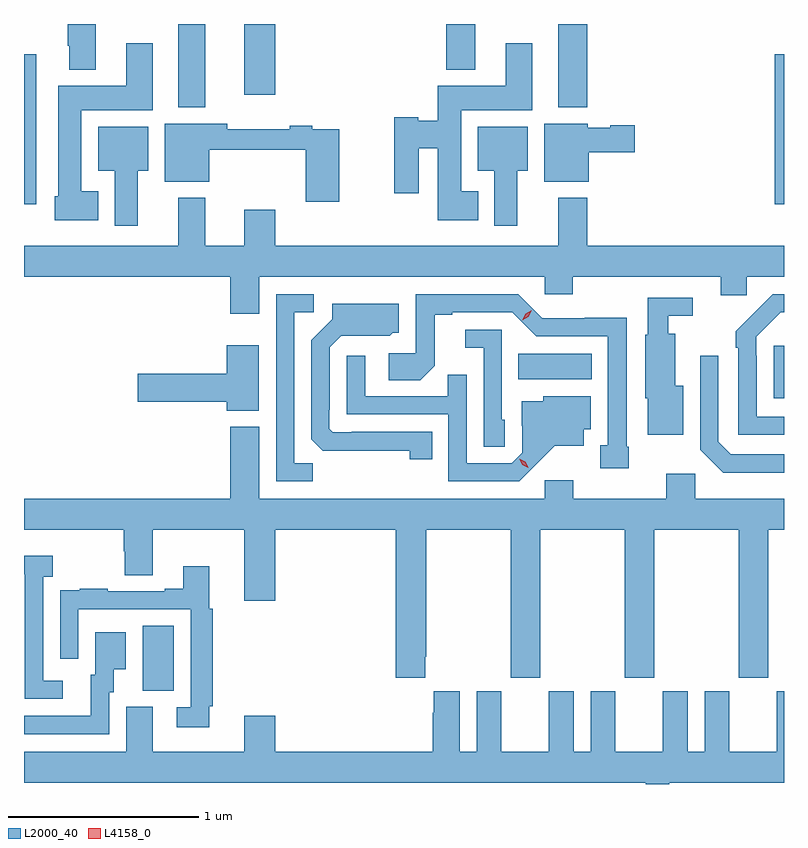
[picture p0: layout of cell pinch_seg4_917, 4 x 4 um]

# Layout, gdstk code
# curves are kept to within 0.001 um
import gdstk
lib = gdstk.Library(unit=1e-6, precision=1e-09)
def R(c, l, rs):  # rectangles x0, y0, x1, y1
    for r in rs: c.add(gdstk.rectangle(r[:2], r[2:], *l))
def P(c, l, *ps):  # polygons
    for p in ps: c.add(gdstk.Polygon(p, *l))
L2000_40 = (2000, 40)
L4158_0 = (4158, 0)

pinch_seg4_917 = lib.new_cell('pinch_seg4_917')
R(pinch_seg4_917, L2000_40, [(655.982,795.973,656.146,796.316), (659.303,797.513,659.358,797.788), (657.958,797.612,658.345,797.746), (655.358,798.533,655.423,799.324), (659.31,798.533,659.358,799.324), (656.171,799.043,656.311,799.482), (658.169,799.043,658.322,799.482), (656.516,799.11,656.68,799.482), (657.581,799.241,657.733,799.482)])
P(pinch_seg4_917, L2000_40, [(655.735,799.482),(655.588,799.482),(655.588,799.368),(655.595,799.368),(655.595,799.241),(655.735,799.241)],
  [(655.75,798.601),(655.66,798.601),(655.66,799.028),(656.035,799.028),(656.035,799.381),(655.895,799.381),(655.895,799.156),(655.538,799.156),(655.538,798.576),(655.52,798.576),(655.52,798.449),(655.75,798.449)],
  [(657.748,798.601),(657.658,798.601),(657.658,799.028),(658.033,799.028),(658.033,799.381),(657.893,799.381),(657.893,799.156),(657.536,799.156),(657.536,798.974),(657.432,798.974),(657.432,798.992),(657.307,798.992),(657.307,798.591),(657.436,798.591),(657.436,798.827),(657.536,798.827),(657.536,798.449),(657.748,798.449)],
  [(658.33,798.808),(658.573,798.808),(658.573,798.95),(658.443,798.95),(658.443,798.937),(658.326,798.937),(658.326,798.958),(658.097,798.958),(658.097,798.653),(658.33,798.653)],
  [(657.018,798.927),(656.876,798.927),(656.876,798.947),(656.756,798.947),(656.756,798.929),(656.428,798.929),(656.428,798.958),(656.099,798.958),(656.099,798.653),(656.332,798.653),(656.332,798.819),(656.84,798.819),(656.84,798.546),(657.018,798.546)],
  [(655.957,798.71),(656.011,798.71),(656.011,798.94),(655.748,798.94),(655.748,798.71),(655.835,798.71),(655.835,798.42),(655.957,798.42)],
  [(657.955,798.71),(658.009,798.71),(658.009,798.94),(657.746,798.94),(657.746,798.71),(657.833,798.71),(657.833,798.42),(657.955,798.42)],
  [(656.596,798.152),(658.098,798.152),(658.098,798.059),(658.245,798.059),(658.245,798.152),(659.024,798.152),(659.024,798.054),(659.163,798.054),(659.163,798.152),(659.358,798.152),(659.358,798.316),(658.322,798.316),(658.322,798.568),(658.169,798.568),(658.169,798.316),(656.68,798.316),(656.68,798.505),(656.516,798.505),(656.516,798.316),(656.311,798.316),(656.311,798.568),(656.171,798.568),(656.171,798.316),(655.358,798.316),(655.358,798.152),(656.444,798.152),(656.444,797.958),(656.596,797.958)],
  [(656.877,797.171),(656.781,797.171),(656.781,797.964),(656.884,797.964),(656.884,798.06),(656.685,798.06),(656.685,797.076),(656.877,797.076)],
  [(659.358,797.415),(659.214,797.415),(659.214,797.735),(659.211,797.735),(659.211,797.835),(659.34,797.964),(659.358,797.964),(659.358,798.06),(659.3,798.06),(659.103,797.865),(659.103,797.777),(659.118,797.777),(659.118,797.319),(659.358,797.319)],
  [(658.541,797.257),(658.531,797.257),(658.531,797.936),(658.308,797.936),(658.308,797.934),(658.086,797.934),(657.96,798.06),(657.42,798.06),(657.42,797.748),(657.279,797.748),(657.279,797.608),(657.443,797.608),(657.519,797.684),(657.519,797.952),(657.613,797.952),(657.613,797.964),(657.927,797.964),(658.053,797.838),(658.43,797.838),(658.43,797.265),(658.391,797.265),(658.391,797.145),(658.541,797.145)],
  [(658.828,797.578),(658.786,797.578),(658.786,797.851),(658.75,797.851),(658.75,797.946),(658.879,797.946),(658.879,798.042),(658.641,798.042),(658.641,797.847),(658.628,797.847),(658.628,797.511),(658.64,797.511),(658.64,797.321),(658.828,797.321)],
  [(657.506,797.337),(657.082,797.337),(657.082,797.334),(656.982,797.334),(656.964,797.352),(656.964,797.452),(656.967,797.452),(656.967,797.781),(657.027,797.841),(657.284,797.84),(657.3,797.856),(657.331,797.856),(657.331,798.01),(656.981,798.01),(656.981,797.928),(656.871,797.818),(656.871,797.296),(656.93,797.237),(657.388,797.236),(657.388,797.19),(657.506,797.19)],
  [(657.888,797.4),(657.873,797.4),(657.873,797.874),(657.681,797.874),(657.681,797.777),(657.777,797.777),(657.777,797.257),(657.888,797.257)],
  [(656.593,797.791),(656.426,797.791),(656.426,797.642),(655.956,797.642),(655.956,797.495),(656.426,797.495),(656.426,797.447),(656.593,797.447)],
  [(659.358,797.217),(659.079,797.217),(659.013,797.283),(659.013,797.737),(658.917,797.737),(658.917,797.241),(659.038,797.12),(659.358,797.12)],
  [(658.048,797.159),(658.151,797.261),(658.303,797.261),(658.303,797.348),(658.342,797.348),(658.342,797.524),(658.092,797.524),(658.092,797.497),(657.977,797.497),(657.977,797.368),(657.981,797.368),(657.981,797.226),(657.924,797.169),(657.687,797.169),(657.687,797.636),(657.589,797.636),(657.589,797.523),(657.153,797.523),(657.153,797.737),(657.057,797.737),(657.057,797.427),(657.591,797.427),(657.591,797.076),(657.964,797.076)],
  [(657.469,796.153),(657.474,796.153),(657.474,796.82),(657.919,796.82),(657.919,796.041),(658.074,796.041),(658.074,796.82),(658.519,796.82),(658.519,796.041),(658.674,796.041),(658.674,796.82),(659.119,796.82),(659.119,796.041),(659.274,796.041),(659.274,796.82),(659.358,796.82),(659.358,796.984),(658.89,796.984),(658.89,797.116),(658.739,797.116),(658.739,796.984),(658.25,796.984),(658.25,797.08),(658.098,797.08),(658.098,796.984),(656.596,796.984),(656.596,797.362),(656.444,797.362),(656.444,796.984),(655.358,796.984),(655.358,796.82),(655.883,796.82),(655.883,796.707),(655.888,796.707),(655.888,796.582),(656.035,796.582),(656.035,796.82),(656.516,796.82),(656.516,796.446),(656.68,796.446),(656.68,796.82),(657.314,796.82),(657.314,796.041),(657.469,796.041)],
  [(655.561,796.026),(655.458,796.026),(655.458,796.574),(655.51,796.574),(655.51,796.684),(655.358,796.684),(655.358,796.587),(655.361,796.587),(655.361,796.387),(655.362,796.387),(655.362,795.93),(655.561,795.93)],
  [(656.333,795.892),(656.351,795.892),(656.351,796.404),(656.333,796.404),(656.333,796.627),(656.195,796.627),(656.195,796.51),(656.099,796.51),(656.099,796.497),(655.799,796.497),(655.799,796.51),(655.651,796.51),(655.651,796.503),(655.549,796.503),(655.549,796.394),(655.548,796.394),(655.548,796.14),(655.644,796.14),(655.644,796.401),(656.235,796.401),(656.235,795.885),(656.163,795.885),(656.163,795.78),(656.333,795.78)],
  [(655.806,795.966),(655.831,795.966),(655.831,796.085),(655.894,796.085),(655.894,796.282),(655.733,796.282),(655.733,796.056),(655.709,796.056),(655.709,795.84),(655.358,795.84),(655.358,795.744),(655.806,795.744)],
  [(655.895,795.888),(655.895,795.652),(655.358,795.652),(655.358,795.488),(658.631,795.488),(658.631,795.482),(658.753,795.482),(658.753,795.488),(659.358,795.488),(659.358,795.97),(659.321,795.97),(659.321,795.652),(659.071,795.652),(659.071,795.97),(658.94,795.97),(658.94,795.652),(658.852,795.652),(658.852,795.97),(658.721,795.97),(658.721,795.652),(658.471,795.652),(658.471,795.97),(658.34,795.97),(658.34,795.652),(658.252,795.652),(658.252,795.97),(658.121,795.97),(658.121,795.652),(657.871,795.652),(657.871,795.97),(657.74,795.97),(657.74,795.652),(657.652,795.652),(657.652,795.97),(657.515,795.97),(657.515,795.857),(657.509,795.857),(657.509,795.652),(656.68,795.652),(656.68,795.841),(656.516,795.841),(656.516,795.652),(656.035,795.652),(656.035,795.888)])
P(pinch_seg4_917, L4158_0, [(657.981,797.924),(657.981,797.924),(657.998,797.956),(658.03,797.975),(658.031,797.975),(658.031,797.975),(658.013,797.942),(657.981,797.924)],
  [(658.012,797.147),(657.981,797.163),(657.964,797.193),(657.964,797.193),(657.965,797.193),(657.995,797.177),(658.012,797.148),(658.012,797.147)])

lib.write_gds('pinch_seg4_917.gds')
